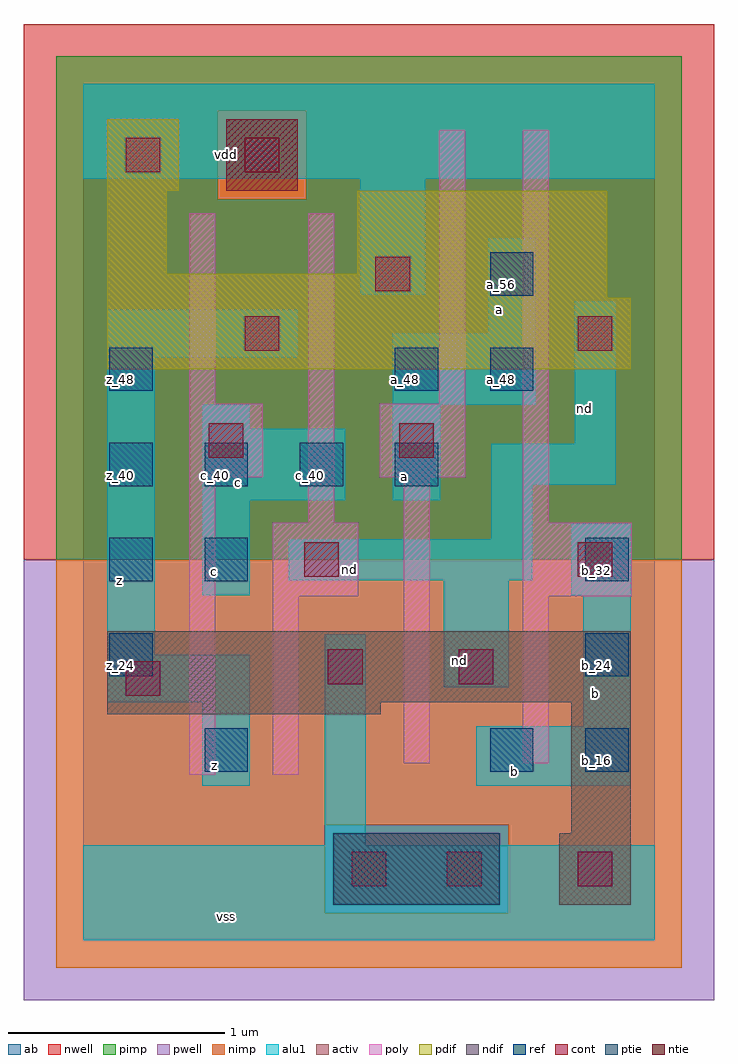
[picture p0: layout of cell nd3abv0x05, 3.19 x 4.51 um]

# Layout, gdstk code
import gdstk
lib = gdstk.Library(unit=1e-6, precision=2.5e-09)
def R(c, l, rs):  # rectangles x0, y0, x1, y1
    for r in rs: c.add(gdstk.rectangle(r[:2], r[2:], *l))
def A(c, l, x, y, w, h, nx, ny, dx, dy):  # array of equal rectangles
    R(c, l, [(x+i*dx, y+j*dy, x+i*dx+w, y+j*dy+h) for i in range(nx) for j in range(ny)])
ndif = (3, 0)
pdif = (4, 0)
ntie = (5, 0)
ptie = (6, 0)
ref = (24, 0)
cont = (25, 0)
pwell = (41, 0)
nwell = (42, 0)
activ = (43, 0)
pimp = (44, 0)
nimp = (45, 0)
poly = (46, 0)
alu1 = (49, 0)
ab = (63, 0)

nd3abv0x05 = lib.new_cell('nd3abv0x05')
R(nd3abv0x05, ndif, [(2.2,0.165,2.53,0.495), (2.255,0.495,2.53,1.1), (0.11,1.045,1.375,1.1), (0.11,1.1,2.53,1.43)])
R(nd3abv0x05, pdif, [(0.11,2.64,2.53,2.97), (0.11,2.97,2.42,3.08), (0.11,3.08,0.385,3.465), (1.265,3.08,2.42,3.465), (0.11,3.465,0.44,3.795)])
R(nd3abv0x05, ntie, [(0.66,3.465,0.99,3.795)])
R(nd3abv0x05, ptie, [(1.155,0.165,1.925,0.495)])
A(nd3abv0x05, ref, 2.32, 0.78, 0.2, 0.2, 1, 3, 0, 0.44)
A(nd3abv0x05, ref, 0.12, 2.1, 0.2, 0.2, 4, 1, 0.44, 0)
R(nd3abv0x05, ref, [(0.56,0.78,0.76,0.98), (1.88,0.78,2.08,0.98), (0.12,1.22,0.32,1.42), (0.12,1.66,0.32,1.86), (0.56,1.66,0.76,1.86), (0.12,2.54,0.32,2.74), (1.44,2.54,1.64,2.74), (1.88,2.54,2.08,2.74), (1.88,2.98,2.08,3.18)])
R(nd3abv0x05, cont, [(1.24,0.25,1.4,0.41), (1.68,0.25,1.84,0.41), (2.285,0.25,2.445,0.41), (0.195,1.13,0.355,1.29), (1.13,1.185,1.29,1.345), (1.735,1.185,1.895,1.345), (1.02,1.68,1.18,1.84), (2.285,1.68,2.445,1.84), (0.58,2.23,0.74,2.39), (1.46,2.23,1.62,2.39), (0.745,2.725,0.905,2.885), (2.285,2.725,2.445,2.885), (1.35,3,1.51,3.16), (0.195,3.55,0.355,3.71), (0.745,3.55,0.905,3.71)])
R(nd3abv0x05, pwell, [(-0.275,-0.275,2.915,1.76)])
R(nd3abv0x05, nwell, [(-0.275,1.76,2.915,4.235)])
R(nd3abv0x05, activ, [(1.155,0.165,1.925,0.495), (2.2,0.165,2.53,0.495), (2.255,0.495,2.53,1.1), (0.11,1.045,1.375,1.1), (0.11,1.1,2.53,1.43), (0.11,2.64,2.53,2.97), (0.11,2.97,2.42,3.08), (0.11,3.08,0.385,3.465), (1.265,3.08,2.42,3.465), (0.11,3.465,0.44,3.795), (0.66,3.465,0.99,3.795)])
R(nd3abv0x05, pimp, [(1.115,0.125,1.965,0.535), (-0.125,1.76,2.765,3.425), (-0.125,3.425,0.62,3.835), (1.03,3.425,2.765,3.835), (-0.125,3.835,2.765,4.085)])
R(nd3abv0x05, nimp, [(-0.125,-0.125,2.765,0.125), (-0.125,0.125,1.115,0.535), (1.965,0.125,2.765,0.535), (-0.125,0.535,2.765,1.76), (0.62,3.425,1.03,3.835)])
R(nd3abv0x05, poly, [(0.49,0.765,0.61,2.14), (0.875,0.765,0.995,1.59), (1.48,0.82,1.6,2.14), (2.03,0.82,2.15,1.59), (0.875,1.59,1.27,1.93), (2.03,1.59,2.535,1.93), (1.04,1.93,1.16,3.36), (2.03,1.93,2.15,3.745), (0.49,2.14,0.83,2.48), (1.37,2.14,1.765,2.48), (0.49,2.48,0.61,3.36), (1.645,2.48,1.765,3.745)])
R(nd3abv0x05, alu1, [(0,0,2.64,0.44), (1.115,0.44,1.305,1.415), (0.55,0.715,0.77,1.1), (1.815,0.715,2.53,0.99), (2.31,0.99,2.53,1.595), (0.11,1.1,0.77,1.32), (1.665,1.17,1.965,1.665), (0.11,1.32,0.33,2.695), (0.55,1.595,0.77,2.035), (2.255,1.595,2.53,1.925), (0.95,1.665,2.075,1.855), (1.885,1.855,2.075,2.105), (0.55,2.035,1.21,2.365), (1.43,2.035,1.65,2.475), (1.885,2.105,2.46,2.295), (2.27,2.295,2.46,2.955), (0.55,2.365,0.77,2.475), (1.43,2.475,2.09,2.805), (0.11,2.695,0.99,2.915), (1.87,2.805,2.09,3.245), (1.28,2.985,1.58,3.52), (0,3.52,2.64,3.96)])
R(nd3abv0x05, ab, [(0,0,2.64,3.96)])
nd3abv0x05.add(gdstk.Label('vss', (0.66,0.11), layer=49, texttype=0))
nd3abv0x05.add(gdstk.Label('b', (1.9925,0.7825), layer=49, texttype=0))
nd3abv0x05.add(gdstk.Label('b', (2.365,1.14), layer=49, texttype=0))
nd3abv0x05.add(gdstk.Label('nd', (1.74,1.2925), layer=49, texttype=0))
nd3abv0x05.add(gdstk.Label('z', (0.605,0.81), layer=49, texttype=0))
nd3abv0x05.add(gdstk.Label('nd', (1.23,1.7125), layer=49, texttype=0))
nd3abv0x05.add(gdstk.Label('c', (0.605,1.705), layer=49, texttype=0))
nd3abv0x05.add(gdstk.Label('nd', (2.3175,2.46), layer=49, texttype=0))
nd3abv0x05.add(gdstk.Label('a', (1.485,2.145), layer=49, texttype=0))
nd3abv0x05.add(gdstk.Label('c', (0.715,2.1175), layer=49, texttype=0))
nd3abv0x05.add(gdstk.Label('z', (0.165,1.6625), layer=49, texttype=0))
nd3abv0x05.add(gdstk.Label('a', (1.925,2.915), layer=49, texttype=0))
nd3abv0x05.add(gdstk.Label('vdd', (0.66,3.63), layer=49, texttype=0))
nd3abv0x05.add(gdstk.Label('a_56', (1.93,3.03), layer=24, texttype=0))
nd3abv0x05.add(gdstk.Label('z_16', (0.61,0.83), layer=24, texttype=0))
nd3abv0x05.add(gdstk.Label('c_32', (0.61,1.71), layer=24, texttype=0))
nd3abv0x05.add(gdstk.Label('c_40', (0.61,2.15), layer=24, texttype=0))
nd3abv0x05.add(gdstk.Label('z_24', (0.17,1.27), layer=24, texttype=0))
nd3abv0x05.add(gdstk.Label('z_32', (0.17,1.71), layer=24, texttype=0))
nd3abv0x05.add(gdstk.Label('z_40', (0.17,2.15), layer=24, texttype=0))
nd3abv0x05.add(gdstk.Label('z_48', (0.17,2.59), layer=24, texttype=0))
nd3abv0x05.add(gdstk.Label('a_48', (1.93,2.59), layer=24, texttype=0))
nd3abv0x05.add(gdstk.Label('a_48', (1.49,2.59), layer=24, texttype=0))
nd3abv0x05.add(gdstk.Label('a_40', (1.49,2.15), layer=24, texttype=0))
nd3abv0x05.add(gdstk.Label('b_24', (2.37,1.27), layer=24, texttype=0))
nd3abv0x05.add(gdstk.Label('b_32', (2.37,1.71), layer=24, texttype=0))
nd3abv0x05.add(gdstk.Label('b_16', (1.93,0.83), layer=24, texttype=0))
nd3abv0x05.add(gdstk.Label('b_16', (2.37,0.83), layer=24, texttype=0))
nd3abv0x05.add(gdstk.Label('c_40', (1.05,2.15), layer=24, texttype=0))

lib.write_gds('nd3abv0x05.gds')
